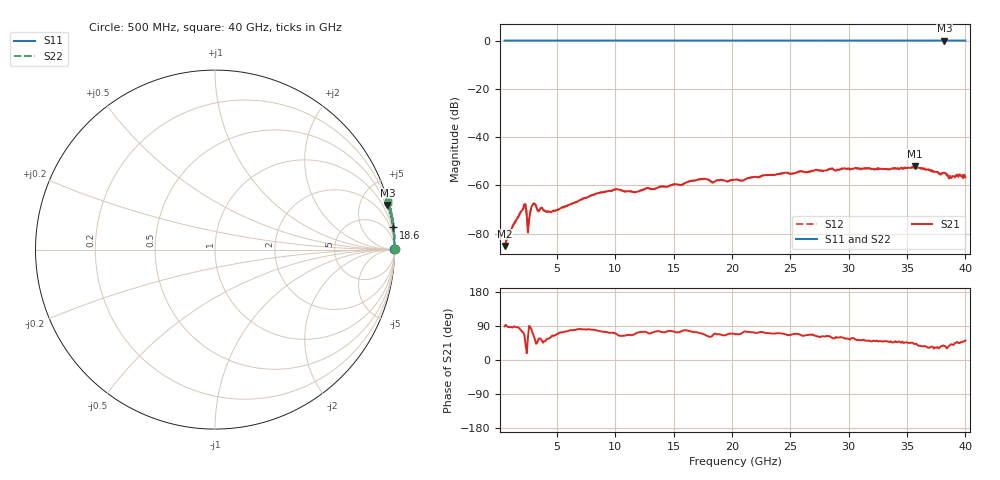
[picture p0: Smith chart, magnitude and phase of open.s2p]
!Keysight Technologies,N5247B,MY61255062,A.15.50.07
!Date: Thursday, February 13, 2025 10:58:59
!Correction: S11(C  2-Port  )
!S21(C  2-Port  )
!S12(C  2-Port  )
!S22(C  2-Port  )
!S2P File: Measurements: S11, S21, S12, S22:
# Hz S  MA  R 50
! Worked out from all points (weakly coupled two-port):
!   396 points, 500 MHz to 40 GHz, reference 50 ohm
!   highest |S21| = -51.95 dB at 35.7 GHz (marker M1); lowest = -85.0 dB at 500 MHz (marker M2)
!   lowest |S11| = -0.1 dB at 38.2 GHz (marker M3), VSWR 250.34, Z = 12.5 + j392 ohm
!   |S11| at or under -10 dB: nowhere
!   |S22| runs from 0.0 to 0.0 dB; largest |S21 - S12| = 0.00026
!   S11 on the Smith chart (normalised r, x): 500 MHz: open; 18.6 GHz: -0, +16; 40 GHz: -0.01, +7.44
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5e8  0.9999 0.2  5.602e-05 89.0  5.541e-05 91.1  1 0.2
9e8  0.9999 0.3  0.0001043 87.0  0.0001045 86.9  1 0.4
2.2e9  1 0.9  0.000403 65.3  0.0004093 64.6  1.001 0.9
2.3e9  1 0.9  0.0004047 39.6  0.0004038 40.0  1.001 0.9
2.5e9  1 1.0  0.0001059 59.1  0.0001085 57.2  1.001 1.0
2.7e9  1 1.0  0.0002802 86.9  0.0002783 87.3  1.001 1.1
3e9  1 1.2  0.0004262 63.5  0.0004267 62.2  1.001 1.2
3.4e9  1 1.3  0.0002951 55.3  0.0002885 54.5  1.001 1.3
3.7e9  1 1.4  0.0003498 51.0  0.0003571 51.9  1.001 1.5
4.5e9  1 1.7  0.0002792 61.9  0.0002876 61.6  1.001 1.8
7.1e9  1 2.7  0.0005167 81.4  0.0005156 81.6  1.001 2.8
1.01e10  1.001 3.9  0.0008407 68.6  0.0008366 67.3  1.002 3.9
1.17e10  1.001 4.5  0.0007266 69.7  0.0007296 68.9  1.002 4.5
1.37e10  1 5.2  0.000917 76.1  0.0009169 76.4  1.002 5.3
1.86e10  1.002 7.1  0.001247 69.3  0.001251 68.8  1.003 7.1
2.03e10  1.002 7.8  0.001317 67.9  0.001304 68.5  1.003 7.7
2.69e10  1 10.2  0.002019 67.6  0.002016 66.5  1.002 10.3
3.35e10  1 12.6  0.002154 47.1  0.002159 49.3  1.002 12.7
3.57e10  0.9996 13.4  0.002528 42.2  0.00238 41.4  1.001 13.5
3.82e10  0.992 14.5  0.001829 37.0  0.001769 34.2  1.002 14.6
3.86e10  0.9973 14.6  0.001393 37.1  0.00155 32.3  1.003 14.7
4e10  1 15.3  0.001473 51.4  0.001522 51.6  1.002 15.3
